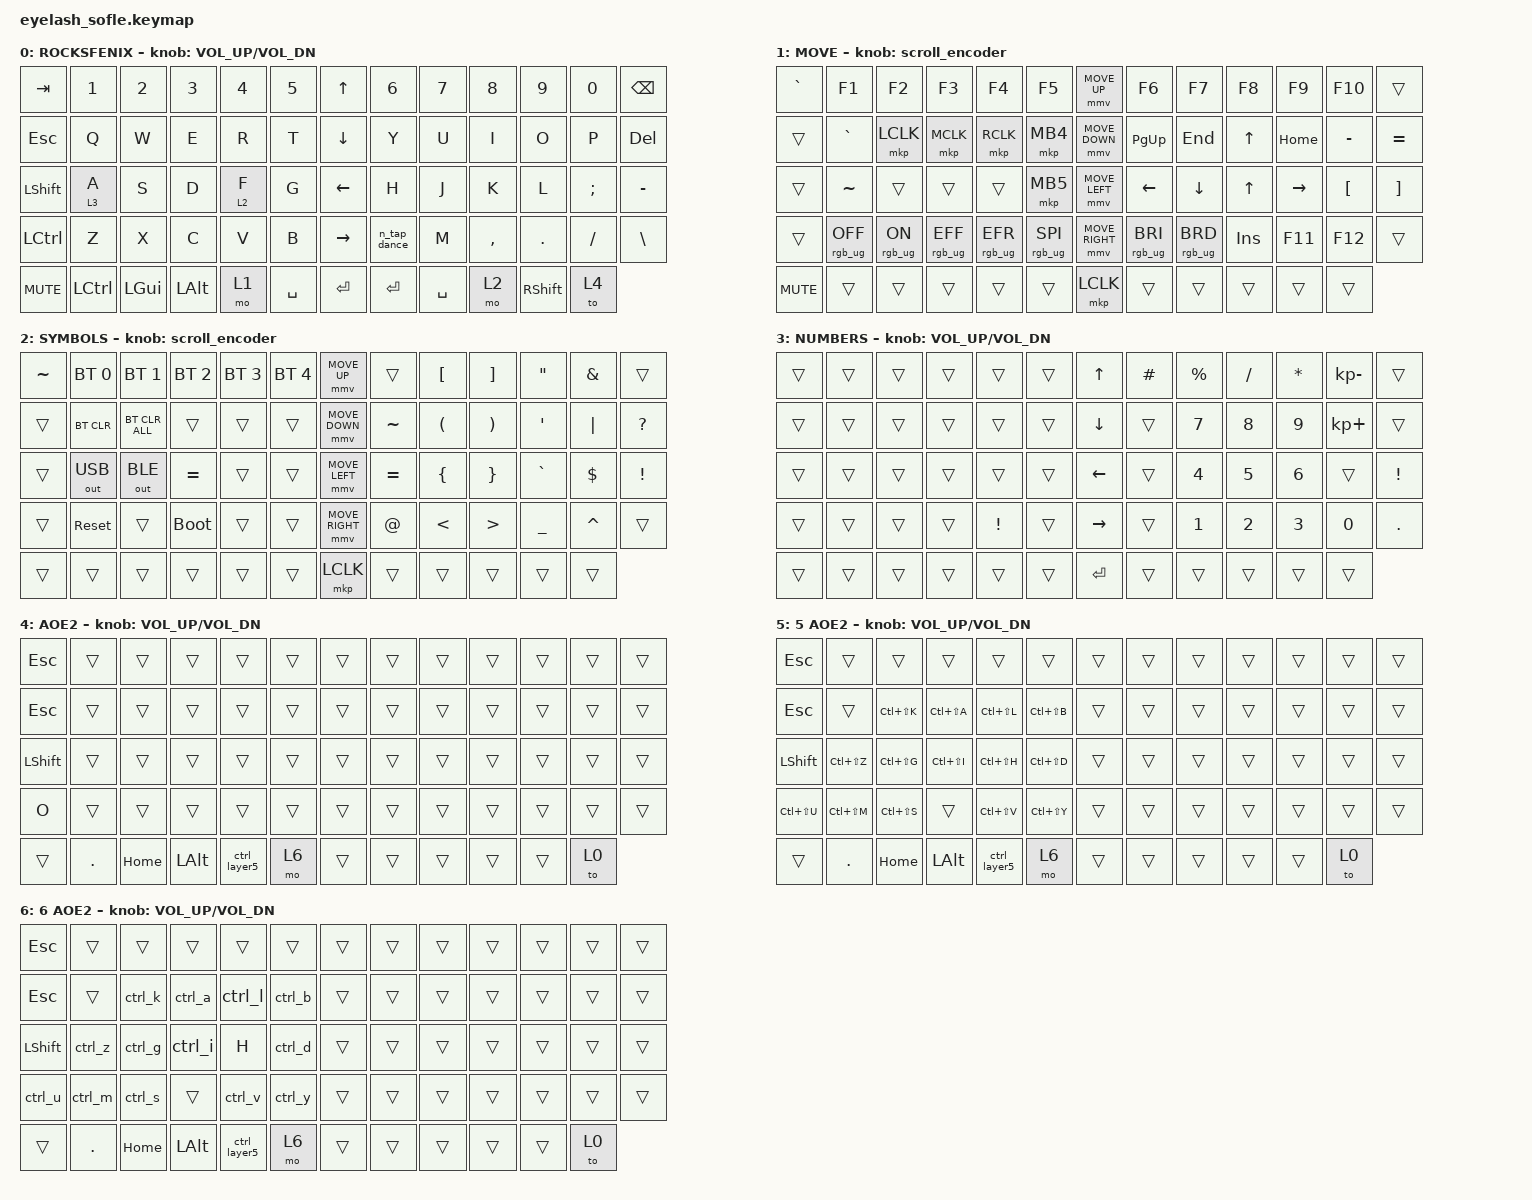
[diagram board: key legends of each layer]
#define ZMK_POINTING_DEFAULT_MOVE_VAL 1200  // 600
#define ZMK_POINTING_DEFAULT_SCRL_VAL 25   // 10

#include <input/processors.dtsi>
#include <zephyr/dt-bindings/input/input-event-codes.h>
#include <behaviors.dtsi>
#include <dt-bindings/zmk/bt.h>
#include <dt-bindings/zmk/keys.h>
#include <dt-bindings/zmk/outputs.h>
#include <dt-bindings/zmk/pointing.h>
#include <dt-bindings/zmk/rgb.h>

&mmv_input_listener { input-processors = <&zip_xy_scaler 2 1>; };

&msc_input_listener { input-processors = <&zip_scroll_scaler 2 1>; };

&msc {
    acceleration-exponent = <1>;      // 0
    time-to-max-speed-ms = <100>;     // 300
    delay-ms = <0>;                   // 0
};

&mmv {
    time-to-max-speed-ms = <500>;
    acceleration-exponent = <1>;
    trigger-period-ms = <16>;
};

&soft_off { hold-time-ms = <2000>; };

/ {
    scroll_encoder: scroll_encoder {
        compatible = "zmk,behavior-sensor-rotate";
        #sensor-binding-cells = <0>;
        bindings = <&msc SCRL_DOWN>, <&msc SCRL_UP>;

        tap-ms = <100>;
    };

    macros {
        ctrl_layer5: ctrl_layer5 {
            compatible = "zmk,behavior-macro";
            #binding-cells = <0>;
            wait-ms = <0>;
            tap-ms = <0>;
            bindings
                = <&macro_press &kp LCTRL &mo 5>
                , <&macro_pause_for_release>
                , <&macro_release &kp LCTRL &mo 5>;
        };
    };

    behaviors {
        n_alt_gr: n_alt_gr {
            compatible = "zmk,behavior-macro";
            #binding-cells = <0>;
            wait-ms = <0>;
            tap-ms = <10>;
            bindings = <&kp RIGHT_ALT &kp N>;
        };

        n_tap_dance: n_tap_dance {
            compatible = "zmk,behavior-tap-dance";
            #binding-cells = <0>;
            tapping-term-ms = <200>;
            bindings = <&kp N>, <&n_alt_gr>;
        };

        ctrl_v: ctrl_v {
            compatible = "zmk,behavior-macro";
            #binding-cells = <0>;
            wait-ms = <0>;
            tap-ms = <10>;
            bindings
                = <&macro_press &kp LCTRL>
                , <&kp V>
                , <&macro_release &kp LCTRL>;
        };

        ctrl_k: ctrl_k {
            compatible = "zmk,behavior-macro";
            #binding-cells = <0>;
            wait-ms = <0>;
            tap-ms = <10>;
            bindings
                = <&macro_press &kp LCTRL>
                , <&kp K>
                , <&macro_release &kp LCTRL>;
        };

        ctrl_a: ctrl_a {
            compatible = "zmk,behavior-macro";
            #binding-cells = <0>;
            wait-ms = <0>;
            tap-ms = <10>;
            bindings
                = <&macro_press &kp LCTRL>
                , <&kp A>
                , <&macro_release &kp LCTRL>;
        };

        ctrl_l: ctrl_l {
            compatible = "zmk,behavior-macro";
            #binding-cells = <0>;
            wait-ms = <0>;
            tap-ms = <10>;
            bindings
                = <&macro_press &kp LCTRL>
                , <&kp L>
                , <&macro_release &kp LCTRL>;
        };

        ctrl_b: ctrl_b {
            compatible = "zmk,behavior-macro";
            #binding-cells = <0>;
            wait-ms = <0>;
            tap-ms = <10>;
            bindings
                = <&macro_press &kp LCTRL>
                , <&kp B>
                , <&macro_release &kp LCTRL>;
        };

        ctrl_z: ctrl_z {
            compatible = "zmk,behavior-macro";
            #binding-cells = <0>;
            wait-ms = <0>;
            tap-ms = <10>;
            bindings
                = <&macro_press &kp LCTRL>
                , <&kp Z>
                , <&macro_release &kp LCTRL>;
        };

        ctrl_g: ctrl_g {
            compatible = "zmk,behavior-macro";
            #binding-cells = <0>;
            wait-ms = <0>;
            tap-ms = <10>;
            bindings
                = <&macro_press &kp LCTRL>
                , <&kp G>
                , <&macro_release &kp LCTRL>;
        };

        ctrl_i: ctrl_i {
            compatible = "zmk,behavior-macro";
            #binding-cells = <0>;
            wait-ms = <0>;
            tap-ms = <10>;
            bindings
                = <&macro_press &kp LCTRL>
                , <&kp I>
                , <&macro_release &kp LCTRL>;
        };

        ctrl_d: ctrl_d {
            compatible = "zmk,behavior-macro";
            #binding-cells = <0>;
            wait-ms = <0>;
            tap-ms = <10>;
            bindings
                = <&macro_press &kp LCTRL>
                , <&kp D>
                , <&macro_release &kp LCTRL>;
        };

        ctrl_u: ctrl_u {
            compatible = "zmk,behavior-macro";
            #binding-cells = <0>;
            wait-ms = <0>;
            tap-ms = <10>;
            bindings
                = <&macro_press &kp LCTRL>
                , <&kp U>
                , <&macro_release &kp LCTRL>;
        };

        ctrl_m: ctrl_m {
            compatible = "zmk,behavior-macro";
            #binding-cells = <0>;
            wait-ms = <0>;
            tap-ms = <10>;
            bindings
                = <&macro_press &kp LCTRL>
                , <&kp M>
                , <&macro_release &kp LCTRL>;
        };

        ctrl_s: ctrl_s {
            compatible = "zmk,behavior-macro";
            #binding-cells = <0>;
            wait-ms = <0>;
            tap-ms = <10>;
            bindings
                = <&macro_press &kp LCTRL>
                , <&kp S>
                , <&macro_release &kp LCTRL>;
        };

        ctrl_y: ctrl_y {
            compatible = "zmk,behavior-macro";
            #binding-cells = <0>;
            wait-ms = <0>;
            tap-ms = <10>;
            bindings
                = <&macro_press &kp LCTRL>
                , <&kp Y>
                , <&macro_release &kp LCTRL>;
        };
    };

    combos {
        compatible = "zmk,combos";

        softoff {
            bindings = <&soft_off>;
            key-positions = <14 28 40>;
        };
    };

    keymap {
        compatible = "zmk,keymap";

        layer0 {
            bindings = <
&kp TAB     &kp N1     &kp N2        &kp N3        &kp N4   &kp N5                                         &kp UP_ARROW                                        &kp N6            &kp N7     &kp N8     &kp N9           &kp N0      &kp BACKSPACE
&kp ESC     &kp Q      &kp W         &kp E         &kp R    &kp T                                          &kp DOWN_ARROW                                      &kp Y             &kp U      &kp I      &kp O            &kp P       &kp DELETE
&kp LSHFT   &lt 3 A    &kp S         &kp D         &lt 2 F  &kp G                                          &kp LEFT_ARROW                                      &kp H             &kp J      &kp K      &kp L            &kp SEMI    &kp MINUS
&kp LCTRL   &kp Z      &kp X         &kp C         &kp V    &kp B                                          &kp RIGHT_ARROW                                     &n_tap_dance      &kp M      &kp COMMA  &kp DOT          &kp FSLH    &kp BACKSLASH
&kp C_MUTE  &kp LCTRL  &kp LEFT_GUI  &kp LEFT_ALT  &mo 1    &kp SPACE                                      &kp ENTER                                           &kp ENTER         &kp SPACE  &mo 2      &kp RIGHT_SHIFT  &to 4
            >;

            sensor-bindings = <&inc_dec_kp C_VOLUME_UP C_VOL_DN>;
            display-name = "ROCKSFENIX";
        };

        layer_1 {
            bindings = <
&kp GRAVE   &kp F1           &kp F2          &kp F3           &kp F4           &kp F5                    &mmv MOVE_UP                                         &kp F6           &kp F7           &kp F8          &kp F9            &kp F10           &trans
&trans      &kp GRAVE        &mkp LCLK       &mkp MCLK        &mkp RCLK        &mkp MB4                  &mmv MOVE_DOWN                                       &kp PG_UP        &kp END          &kp UP          &kp HOME          &kp MINUS         &kp EQUAL
&trans      &kp TILDE        &trans          &trans           &trans           &mkp MB5                  &mmv MOVE_LEFT                                       &kp LEFT_ARROW   &kp DOWN_ARROW   &kp UP_ARROW    &kp RIGHT_ARROW   &kp LEFT_BRACKET  &kp RIGHT_BRACKET
&trans      &rgb_ug RGB_OFF  &rgb_ug RGB_ON  &rgb_ug RGB_EFF  &rgb_ug RGB_EFR  &rgb_ug RGB_SPI           &mmv MOVE_RIGHT                                      &rgb_ug RGB_BRI  &rgb_ug RGB_BRD  &kp INSERT      &kp F11           &kp F12           &trans
&kp C_MUTE  &trans           &trans          &trans           &trans           &trans                    &mkp LCLK                                            &trans           &trans           &trans          &trans            &trans
            >;

            display-name = "MOVE";
            sensor-bindings = <&scroll_encoder>;
        };

        layer_2 {
            bindings = <
&kp TILDE  &bt BT_SEL 0  &bt BT_SEL 1    &bt BT_SEL 2  &bt BT_SEL 3  &bt BT_SEL 4                       &mmv MOVE_UP                                       &trans          &kp LEFT_BRACKET      &kp RIGHT_BRACKET          &kp DOUBLE_QUOTES     &kp AMPERSAND      &trans
&trans     &bt BT_CLR    &bt BT_CLR_ALL  &trans        &trans        &trans                             &mmv MOVE_DOWN                                     &kp TILDE       &kp LEFT_PARENTHESIS  &kp RIGHT_PARENTHESIS      &kp SINGLE_QUOTE      &kp PIPE           &kp QUESTION
&trans     &out OUT_USB  &out OUT_BLE    &kp EQUAL     &trans        &trans                             &mmv MOVE_LEFT                                     &kp EQUAL       &kp LEFT_BRACE        &kp RIGHT_BRACE            &kp GRAVE             &kp DOLLAR         &kp EXCLAMATION
&trans     &sys_reset    &trans          &bootloader   &trans        &trans                             &mmv MOVE_RIGHT                                    &kp AT_SIGN     &kp LESS_THAN         &kp GREATER_THAN           &kp UNDERSCORE        &kp CARET  &trans
&trans     &trans        &trans          &trans        &trans        &trans                             &mkp LCLK                                          &trans  &trans  &trans      &trans     &trans
            >;

            display-name = "SYMBOLS";
            sensor-bindings = <&scroll_encoder>;
        };

        layer_3 {
            bindings = <
&trans      &trans     &trans        &trans        &trans             &trans                                    &kp UP_ARROW                                        &kp HASH        &kp PERCENT   &kp SLASH    &kp ASTERISK    &kp KP_MINUS     &trans
&trans      &trans     &trans        &trans        &trans             &trans                                    &kp DOWN_ARROW                                      &trans          &kp N7        &kp N8       &kp N9          &kp KP_PLUS      &trans
&trans      &trans     &trans        &trans        &trans             &trans                                    &kp LEFT_ARROW                                      &trans          &kp N4        &kp N5       &kp N6          &trans           &kp EXCLAMATION
&trans      &trans     &trans        &trans        &kp EXCLAMATION    &trans                                    &kp RIGHT_ARROW                                     &trans          &kp N1        &kp N2       &kp N3          &kp N0           &kp DOT
&trans      &trans     &trans        &trans        &trans             &trans                                    &kp ENTER                                           &trans          &trans        &trans       &trans          &trans
            >;

            sensor-bindings = <&inc_dec_kp C_VOLUME_UP C_VOL_DN>;
            display-name = "NUMBERS";
        };

        layer_4 {
            bindings = <
&kp ESC         &trans   &trans    &trans        &trans        &trans                   &trans                  &trans  &trans  &trans  &trans  &trans  &trans
&kp ESC         &trans   &trans    &trans        &trans        &trans                   &trans                  &trans  &trans  &trans  &trans  &trans  &trans
&kp LSHFT       &trans   &trans    &trans        &trans        &trans                   &trans                  &trans  &trans  &trans  &trans  &trans  &trans
&kp O           &trans   &trans    &trans        &trans        &trans                   &trans                  &trans  &trans  &trans  &trans  &trans  &trans
&trans          &kp DOT  &kp HOME  &kp LEFT_ALT  &ctrl_layer5  &mo 6                    &trans                  &trans  &trans  &trans  &trans  &to 0
            >;

            sensor-bindings = <&inc_dec_kp C_VOLUME_UP C_VOL_DN>;
            display-name = "AOE2";
        };

        layer_5 {
            bindings = <
&kp ESC        &trans         &trans         &trans         &trans           &trans                                  &trans                        &trans  &trans  &trans  &trans  &trans  &trans
&kp ESC        &trans         &kp LC(LS(K))  &kp LC(LS(A))  &kp LC(LS(L))    &kp LC(LS(B))                           &trans                        &trans  &trans  &trans  &trans  &trans  &trans
&kp LSHFT      &kp LC(LS(Z))  &kp LC(LS(G))  &kp LC(LS(I))  &kp LC(LS(H))    &kp LC(LS(D))                           &trans                        &trans  &trans  &trans  &trans  &trans  &trans
&kp LC(LS(U))  &kp LC(LS(M))  &kp LC(LS(S))  &trans         &kp LC(LS(V))    &kp LC(LS(Y))                           &trans                        &trans  &trans  &trans  &trans  &trans  &trans
&trans         &kp DOT        &kp HOME       &kp LEFT_ALT   &ctrl_layer5     &mo 6                                   &trans                        &trans  &trans  &trans  &trans  &to 0
            >;

            sensor-bindings = <&inc_dec_kp C_VOLUME_UP C_VOL_DN>;
            display-name = "5 AOE2";
        };

        layer_6 {
            bindings = <
&kp ESC          &trans      &trans      &trans         &trans          &trans                               &trans                                         &trans  &trans  &trans  &trans  &trans  &trans
&kp ESC          &trans      &ctrl_k     &ctrl_a        &ctrl_l         &ctrl_b                              &trans                                         &trans  &trans  &trans  &trans  &trans  &trans
&kp LSHFT        &ctrl_z     &ctrl_g     &ctrl_i        &kp H           &ctrl_d                              &trans                                         &trans  &trans  &trans  &trans  &trans  &trans
&ctrl_u          &ctrl_m     &ctrl_s     &trans         &ctrl_v         &ctrl_y                              &trans                                         &trans  &trans  &trans  &trans  &trans  &trans
&trans           &kp DOT     &kp HOME    &kp LEFT_ALT   &ctrl_layer5    &mo 6                                &trans                                         &trans  &trans  &trans  &trans  &to 0
            >;

            sensor-bindings = <&inc_dec_kp C_VOLUME_UP C_VOL_DN>;
            display-name = "6 AOE2";
        };
    };
};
